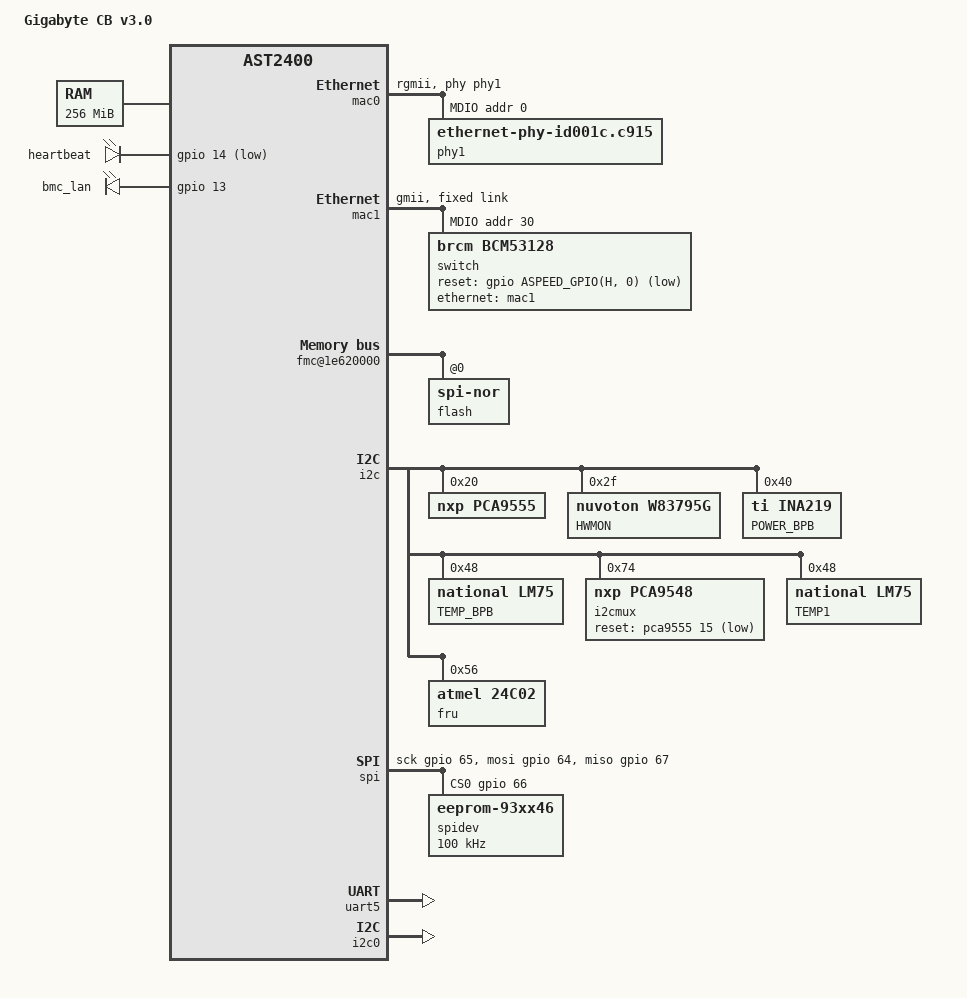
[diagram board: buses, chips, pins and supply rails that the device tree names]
/dts-v1/;

#include "aspeed-g4.dtsi"
#include <dt-bindings/gpio/gpio.h>
#include <dt-bindings/gpio/aspeed-gpio.h>

/ {
	model = "Gigabyte CB v3.0";
	compatible = "openbmc,common", "aspeed,ast2400";

	aliases {
		serial4 = &uart5;
	};

	chosen {
		stdout-path = &uart5;
		bootargs = "console=ttyS4,115200 earlyprintk";
	};

	memory {
		reg = < 0x40000000 0x10000000 >;
	};

	ahb {
		mac0: ethernet@1e660000 {
			status = "okay";

			no-hw-checksum;

			pinctrl-names = "default";
			pinctrl-0 = <&pinctrl_rgmii1_default &pinctrl_mdio1_default>;

			phy-handle = <&phy1>;
			phy-mode = "rgmii";

			mdio {
				#address-cells = <1>;
				#size-cells = <0>;
				phy1: phy@0 {
					compatible = "ethernet-phy-id001c.c915";
					reg = <0>;
				};
			};
		};

		mac1: ethernet@1e680000 {
			compatible = "faraday,ftgmac100", "aspeed,ast2400-mac";
			reg = <0x1e680000 0x180>;
			interrupts = <3>;
			status = "okay";
			no-hw-checksum;

			pinctrl-names = "default";
			pinctrl-0 = <&pinctrl_rgmii2_default &pinctrl_mdio2_default>;

			phy-mode = "gmii";

			fixed-link {
				speed = <1000>;
				max-speed = <1000>;
				full-duplex;
			};

			mdio {
				#address-cells = <1>;
				#size-cells = <0>;

				switch: ethernet-switch@1e {
					#address-cells = <1>;
					#size-cells = <0>;
					compatible = "brcm,bcm53128";
					reset-gpios = <&gpio ASPEED_GPIO(H, 0) GPIO_ACTIVE_LOW>;
					reg = <30>;

					ports {
						port0@0 {
							reg = <0>;
							label = "lan1";
						};

						port1@1 {
							reg = <1>;
							label = "lan2";
						};

						port2@2 {
							reg = <2>;
							label = "lan3";
						};

						port3@3 {
							reg = <3>;
							label = "lan4";
						};

						port4@4 {
							reg = <4>;
							label = "lan5";
						};

						port5@5 {
							reg = <5>;
							label = "lan6";
						};

						port6@6 {
							reg = <6>;
							label = "uplink";
						};

						port8@8 {
							reg = <8>;
							label = "cpu";
							phy-mode = "gmii";
							ethernet = <&mac1>;
							fixed-link {
								speed = <1000>;
								max-speed = <1000>;
								full-duplex;
							};
						};
					};
				};
			};
		};

		fmc@1e620000 {
			reg = < 0x1e620000 0x94
				0x20000000 0x02000000 >;
			#address-cells = <1>;
			#size-cells = <0>;
			compatible = "aspeed,ast2400-fmc";
			flash@0 {
				reg = < 0 >;
				compatible = "jedec,spi-nor" ;
				/* label = "bmc"; */
				/*
				 * Possibly required props:
				 * spi-max-frequency = <>
				 * spi-tx-bus-width = <>
				 * spi-rx-bus-width  = <>
				 * m25p,fast-read
				 * spi-cpol if inverse clock polarity (CPOL)
				 * spi-cpha if shifted clock phase (CPHA)
				 */
/* #include "aspeed-rmc-32M-flash-layout.dtsi" */
#include "aspeed-bmc-opp-flash-layout.dtsi"
			};
		};

		apb {
			i2c: i2c@1e78a000 {
				i2c6: i2c-bus@1c0 {
				};
				i2c8: i2c-bus@340 {
				};
			};
		};
	};

	spi {
		compatible = "spi-gpio";
		#address-cells = <0x1>;
		ranges;

		cs-gpios = <&gpio 66 0>;  /* CS */
		gpio-sck = <&gpio 65 0>;  /* SK */
		gpio-mosi = <&gpio 64 0>; /* DI */
		gpio-miso = <&gpio 67 0>; /* DO */
		num-chipselects = <1>;

		spidev@0 {
			compatible = "eeprom-93xx46";
			data-size = <16>;
			#address-cells = <1>;
			#size-cells = <0>;
			reg = <0>;
			spi-max-frequency = <100000>;
			spi-cs-high;
		};
	};

           leds {
                compatible = "gpio-leds";
                heartbeat {
                    label = "heartbeat";
                    gpios = <&gpio 14 GPIO_ACTIVE_LOW>;
                    linux,default-trigger = "heartbeat";
                };

                bmc_lan {
                    label = "bmc_lan";
                    gpios = <&gpio 13 GPIO_ACTIVE_HIGH>;
                    linux,default-trigger = "netdev";
                };
           };
};

&uart5 {
	status = "okay";
};

&i2c0 {
	status = "okay";
};

&i2c6 {
	status = "okay";
					pca9555: gpio-expander@21 {
						compatible = "nxp,pca9555";
						gpio-controller;
						#gpio-cells = <2>;
						reg = <0x20>;
					};
					sensors {
						label = "HWMON";
						compatible = "nuvoton,w83795g";
						reg = <0x2f>;
					};
					power {
						label = "POWER_BPB";
						compatible = "ti,ina219";
						reg = <0x40>;
					};
					tmp {
						label = "TEMP_BPB";
						compatible = "national,lm75";
						reg = <0x48>;
					};
					i2cmux@74 {
						compatible = "nxp,pca9548";
						#address-cells = <1>;
						#size-cells = <0>;
						reg = <0x74>;
						reset-gpios = <&pca9555 15 GPIO_ACTIVE_LOW>;
						i2c_node1: i2c@0 {
						    #address-cells = <1>;
						    #size-cells = <0>;
						    reg = <0>;
						};
						i2c_node2: i2c@1 {
						    #address-cells = <1>;
						    #size-cells = <0>;
						    reg = <1>;
						};
						i2c_node3: i2c@2 {
						    #address-cells = <1>;
						    #size-cells = <0>;
						    reg = <2>;
						};
						i2c_node4: i2c@3 {
						    #address-cells = <1>;
						    #size-cells = <0>;
						    reg = <3>;
						};
						i2c_node5: i2c@4 {
						    #address-cells = <1>;
						    #size-cells = <0>;
						    reg = <4>;
						};
						i2c_node6: i2c@5 {
						    #address-cells = <1>;
						    #size-cells = <0>;
						    reg = <5>;
						};
						i2c_node7: i2c@6 {
						    #address-cells = <1>;
						    #size-cells = <0>;
						    reg = <6>;
						};
						i2c_node8: i2c@7 {
						    #address-cells = <1>;
						    #size-cells = <0>;
						    reg = <7>;
						};
					};
};

&i2c8 {
	status = "okay";

	tmp {
		label = "TEMP1";
		compatible = "national,lm75";
		reg = <0x48>;
	};
	fru {
		compatible = "atmel,24c02";
		reg = <0x56>;
		pagesize = <32>;
	};
};
